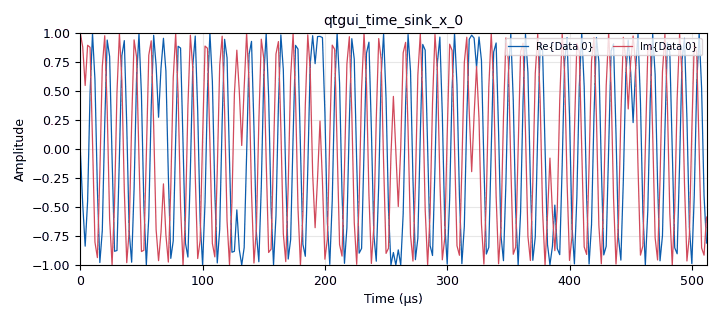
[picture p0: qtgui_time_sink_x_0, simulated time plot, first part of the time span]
<?xml version='1.0' encoding='utf-8'?>
<?grc format='1' created='3.7.6'?>
<flow_graph>
<block>
<key>options</key>
<param><key>id</key><value>top_block</value></param>
<param><key>generate_options</key><value>qt_gui</value></param>
<param><key>category</key><value>Custom</value></param>
</block>
<block>
<key>variable</key>
<param><key>id</key><value>samp_rate</value></param>
<param><key>value</key><value>0.5e6</value></param>
</block>
<block>
<key>variable</key>
<param><key>id</key><value>freq</value></param>
<param><key>value</key><value>915e6</value></param>
</block>
<block>
<key>qtgui_time_sink_x</key>
<param><key>id</key><value>qtgui_time_sink_x_0</value></param>
<param><key>type</key><value>complex</value></param>
<param><key>size</key><value>1024</value></param>
<param><key>srate</key><value>samp_rate</value></param>
<param><key>label1</key><value></value></param>
<param><key>color1</key><value>"blue"</value></param>
<param><key>label2</key><value></value></param>
<param><key>color2</key><value>"red"</value></param>
</block>
<block>
<key>digital_gfsk_mod</key>
<param><key>id</key><value>digital_gfsk_mod_0</value></param>
<param><key>samples_per_symbol</key><value>2</value></param>
<param><key>sensitivity</key><value>1.0</value></param>
<param><key>bt</key><value>0.35</value></param>
</block>
<block>
<key>osmosdr_sink</key>
<param><key>id</key><value>osmosdr_sink_0</value></param>
<param><key>type</key><value>fc32</value></param>
<param><key>args</key><value>hackrf=0</value></param>
<param><key>sync</key><value></value></param>
<param><key>sample_rate</key><value>samp_rate</value></param>
<param><key>freq0</key><value>freq</value></param>
<param><key>gain0</key><value>0</value></param>
<param><key>if_gain0</key><value>0</value></param>
<param><key>bb_gain0</key><value>0</value></param>
</block>
<block>
<key>blocks_vector_source_x</key>
<param><key>id</key><value>blocks_vector_source_x_0</value></param>
<param><key>type</key><value>byte</value></param>
<param><key>vector</key><value>(0, 1)</value></param>
<param><key>repeat</key><value>True</value></param>
</block>
<connection><source_block_id>blocks_vector_source_x_0</source_block_id><sink_block_id>digital_gfsk_mod_0</sink_block_id><source_key>0</source_key><sink_key>0</sink_key></connection>
<connection><source_block_id>digital_gfsk_mod_0</source_block_id><sink_block_id>qtgui_time_sink_x_0</sink_block_id><source_key>0</source_key><sink_key>0</sink_key></connection>
<connection><source_block_id>digital_gfsk_mod_0</source_block_id><sink_block_id>osmosdr_sink_0</sink_block_id><source_key>0</source_key><sink_key>0</sink_key></connection>
</flow_graph>
